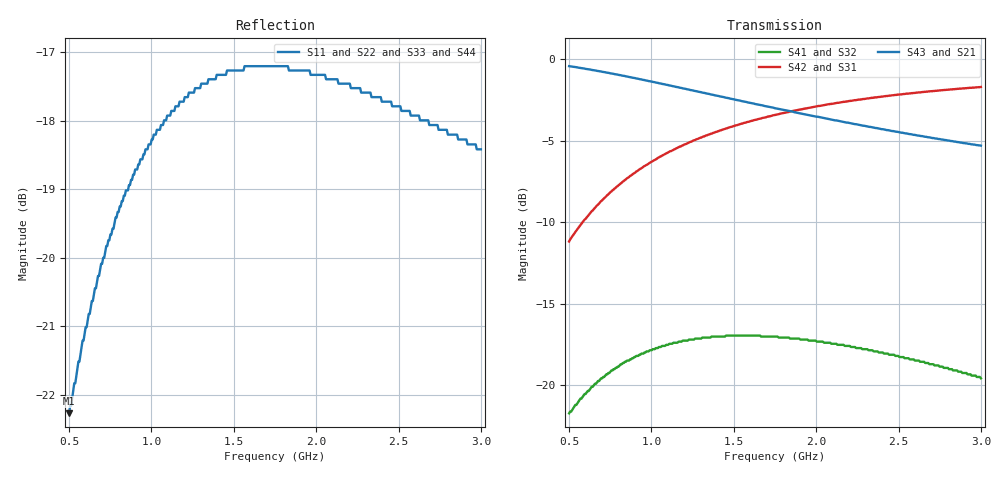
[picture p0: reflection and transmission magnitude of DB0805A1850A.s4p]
!	AVX THIN FILM OPERATION
!	0805 SIZE 3dB 90deg COUPLER P/N DB0805A1850AWTR
!	Created March 23 2003
!	Network Analyzer HP8720E S.07.64: Feb23, 2000 Serial No.US39172382
#	MHZ	S	MA	R	50
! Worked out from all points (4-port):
!   400 points, 500 MHz to 3 GHz, reference 50 ohm
!   strongest paths, dB at 500 MHz, 1.127 GHz, 1.753 GHz, 2.38 GHz, 3 GHz:
!     S43: -0.4, -1.6, -3.0, -4.3, -5.3
!     S21: -0.4, -1.6, -3.0, -4.3, -5.3
!     S42: -11.2, -5.6, -3.4, -2.3, -1.7
!     S31: -11.2, -5.6, -3.4, -2.3, -1.7
!     S41: -21.7, -17.5, -17.0, -18.0, -19.6
!     S32: -21.7, -17.5, -17.0, -18.0, -19.6
!   lowest |S11| = -22.3 dB at 500 MHz (marker M1), VSWR 1.17, Z = 45.6 - j5.9 ohm
!   |S11| at or under -10 dB: start of sweep to end of sweep
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500  0.077 -123.3  0.952 -17.2  0.276 71.3  0.082 57.2
     0.952 -17.2  0.077 -123.3  0.082 57.2  0.276 71.3
     0.276 71.3  0.082 57.2  0.077 -123.3  0.952 -17.2
     0.082 57.2  0.276 71.3  0.952 -17.2  0.077 -123.3
694.236  0.099 -135.8  0.917 -23.2  0.367 65.0  0.105 45.9
         0.917 -23.2  0.099 -135.8  0.105 45.9  0.367 65.0
         0.367 65.0  0.105 45.9  0.099 -135.8  0.917 -23.2
         0.105 45.9  0.367 65.0  0.917 -23.2  0.099 -135.8
850.877  0.112 -144.9  0.885 -27.5  0.431 60.4  0.119 37.5
         0.885 -27.5  0.112 -144.9  0.119 37.5  0.431 60.4
         0.431 60.4  0.119 37.5  0.112 -144.9  0.885 -27.5
         0.119 37.5  0.431 60.4  0.885 -27.5  0.112 -144.9
1095.238  0.127 -157.8  0.834 -33.7  0.516 54.0  0.133 25.9
          0.834 -33.7  0.127 -157.8  0.133 25.9  0.516 54.0
          0.516 54.0  0.133 25.9  0.127 -157.8  0.834 -33.7
          0.133 25.9  0.516 54.0  0.834 -33.7  0.127 -157.8
1364.662  0.135 -170.3  0.779 -39.5  0.591 48.0  0.141 14.9
          0.779 -39.5  0.135 -170.3  0.141 14.9  0.591 48.0
          0.591 48.0  0.141 14.9  0.135 -170.3  0.779 -39.5
          0.141 14.9  0.591 48.0  0.779 -39.5  0.135 -170.3
2129.073  0.135 162.3  0.648 -52.6  0.735 35.2  0.133 -7.4
          0.648 -52.6  0.135 162.3  0.133 -7.4  0.735 35.2
          0.735 35.2  0.133 -7.4  0.135 162.3  0.648 -52.6
          0.133 -7.4  0.735 35.2  0.648 -52.6  0.135 162.3
3000  0.12 139.3  0.543 -63.3  0.822 25.2  0.105 -20.5
      0.543 -63.3  0.12 139.3  0.105 -20.5  0.822 25.2
      0.822 25.2  0.105 -20.5  0.12 139.3  0.543 -63.3
      0.105 -20.5  0.822 25.2  0.543 -63.3  0.12 139.3
